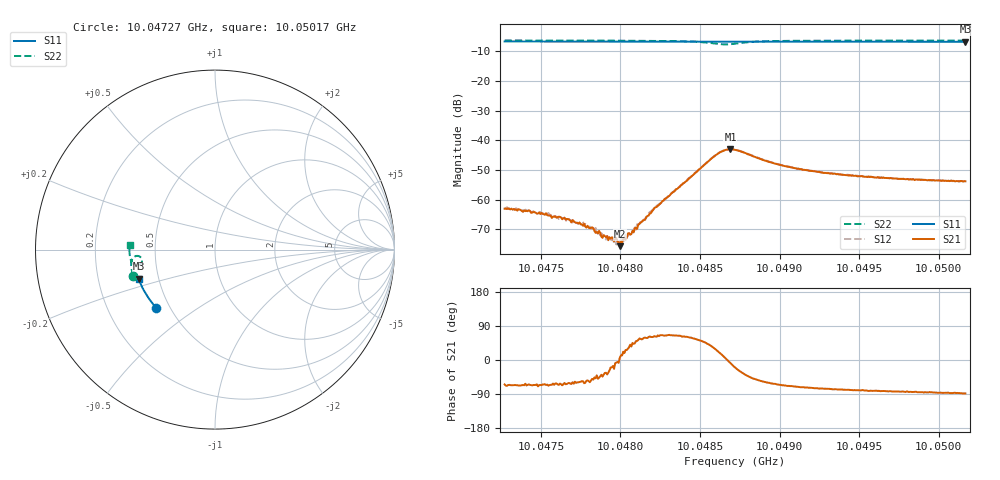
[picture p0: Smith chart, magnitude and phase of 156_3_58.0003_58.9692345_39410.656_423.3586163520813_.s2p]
#  HZ  S  RI  R  50.00
! Rohde & Schwarz Vector Network Analyzer
! Rohde-Schwarz,ZNB20-2Port,1311601062101988,3.16
! Created: UTC 3/21/2024, 12:57:15 AM
! freq[Hz]  re:S11  im:S11  re:S21  im:S21  re:S12  im:S12  re:S22  im:S22
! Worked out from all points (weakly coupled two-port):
!   401 points, 10.04727 GHz to 10.05017 GHz, reference 50 ohm
!   highest |S21| = -43.03 dB at 10.04869 GHz (marker M1); lowest = -75.7 dB at 10.048 GHz (marker M2)
!   lowest |S11| = -6.8 dB at 10.05017 GHz (marker M3), VSWR 2.67, Z = 19.3 - j7.89 ohm
!   |S11| at or under -10 dB: nowhere
!   |S22| runs from -7.7 to -6.4 dB; largest |S21 - S12| = 0.00047
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1.0047272e10  -0.3265 -0.3245  0.000303 -0.000635  0.00031 -0.000661  -0.4557 -0.1475
1.0047518e10  -0.3375 -0.3123  0.000244 -0.000514  0.000265 -0.000521  -0.4602 -0.1308
1.0047663e10  -0.3436 -0.3051  0.000214 -0.000422  0.000233 -0.000361  -0.4626 -0.1205
1.0047757e10  -0.3476 -0.3002  0.000214 -0.000317  0.000241 -0.000305  -0.4638 -0.1136
1.0047822e10  -0.3503 -0.2969  0.00022 -0.000261  0.000201 -0.00025  -0.4645 -0.1087
1.0047894e10  -0.3534 -0.2929  0.000197 -0.000157  0.000184 -0.00015  -0.4655 -0.103
1.0047945e10  -0.3554 -0.2902  0.000218 -7.66e-05  0.0002 -7.56e-05  -0.4659 -0.0989
1.0047974e10  -0.3565 -0.2887  0.000225 -2.73e-05  0.000175 -2.02e-05  -0.4662 -0.0967
1.0047996e10  -0.3574 -0.2877  0.000164 1.79e-05  0.000197 4.52e-05  -0.4663 -0.0949
1.0048003e10  -0.3577 -0.2872  0.000197 4.26e-05  0.000206 2.5e-05  -0.4664 -0.0942
1.0048054e10  -0.3597 -0.2845  0.000228 0.00015  0.000222 0.000155  -0.4668 -0.0899
1.0048148e10  -0.3633 -0.2796  0.000236 0.000387  0.000216 0.000408  -0.4669 -0.0816
1.0048184e10  -0.3648 -0.2777  0.000273 0.000513  0.000286 0.00055  -0.4669 -0.078
1.0048242e10  -0.3669 -0.2745  0.000369 0.000726  0.000345 0.000772  -0.4665 -0.0721
1.0048582e10  -0.3792 -0.2557  0.00432 0.00285  0.0042 0.00312  -0.4273 -0.0356
1.004864e10  -0.3808 -0.2523  0.00639 0.00145  0.00637 0.00182  -0.4099 -0.0488
1.0048691e10  -0.3826 -0.2498  0.00697 -0.00106  0.00708 -0.000625  -0.408 -0.07
1.004872e10  -0.3836 -0.2482  0.00653 -0.00234  0.00672 -0.00193  -0.4148 -0.0802
1.0048966e10  -0.3923 -0.2345  0.00185 -0.00362  0.00207 -0.00356  -0.4634 -0.0701
1.0049205e10  -0.3998 -0.2206  0.000861 -0.00292  0.00102 -0.00287  -0.4727 -0.0455
1.004969e10  -0.4136 -0.1916  0.000306 -0.00227  0.000411 -0.00228  -0.4767 -0.007
1.0050168e10  -0.4252 -0.1623  7.03e-05 -0.00204  0.00019 -0.00205  -0.4762 0.0268
